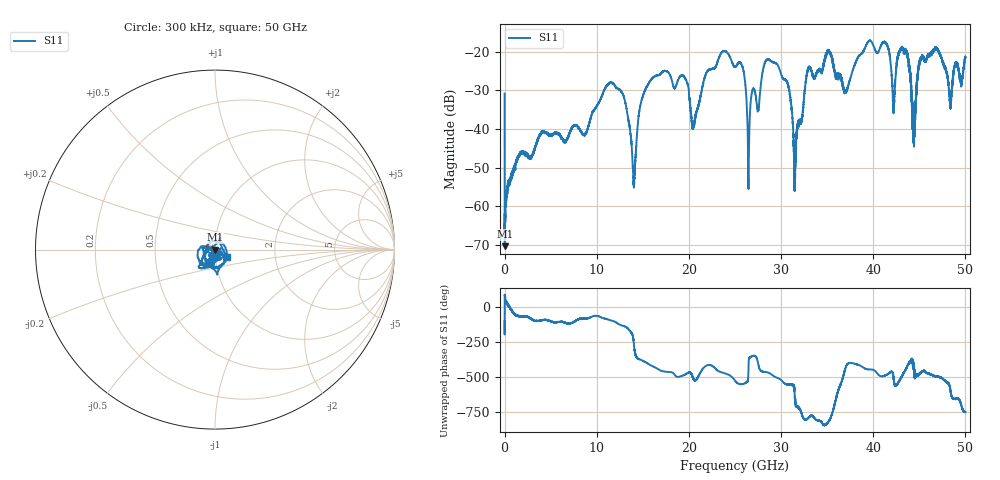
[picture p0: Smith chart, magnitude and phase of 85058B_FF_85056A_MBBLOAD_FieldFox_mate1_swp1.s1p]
!Created with skrf (http://scikit-rf.org).
# Hz S RI R 50.0
!freq ReS11 ImS11
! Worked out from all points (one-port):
!   10001 points, 300 kHz to 50 GHz, reference 50 ohm
!   lowest |S11| = -70.3 dB at 20.3 MHz (marker M1), VSWR 1.00, Z = 50 + j0.0268 ohm
!   |S11| at or under -10 dB: start of sweep to end of sweep
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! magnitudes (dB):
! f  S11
! 300 kHz  -30.8
! 20.3 MHz  -70.3
! 255.3 MHz  -56.5
! 1.73 GHz  -46.0
! 6.25 GHz  -42.5
! 12.5 GHz  -29.8
! 14.04 GHz  -54.7
! 15.42 GHz  -29.0
! 18.75 GHz  -27.8
! 20.49 GHz  -39.3
! 22.03 GHz  -25.1
! 25 GHz  -23.9
! 25.86 GHz  -24.3
! 26.49 GHz  -48.7
! 28.29 GHz  -22.6
! 29.52 GHz  -23.1
! 31.25 GHz  -37.6
! 35.07 GHz  -19.9
! 37.5 GHz  -27.0
! 39.57 GHz  -17.2
! 41.46 GHz  -18.1
! 42.21 GHz  -35.0
! 43.75 GHz  -21.5
! 44.4 GHz  -36.6
! 45.25 GHz  -21.4
! 46.98 GHz  -19.5
! 48.37 GHz  -33.7
! 50 GHz  -21.3
